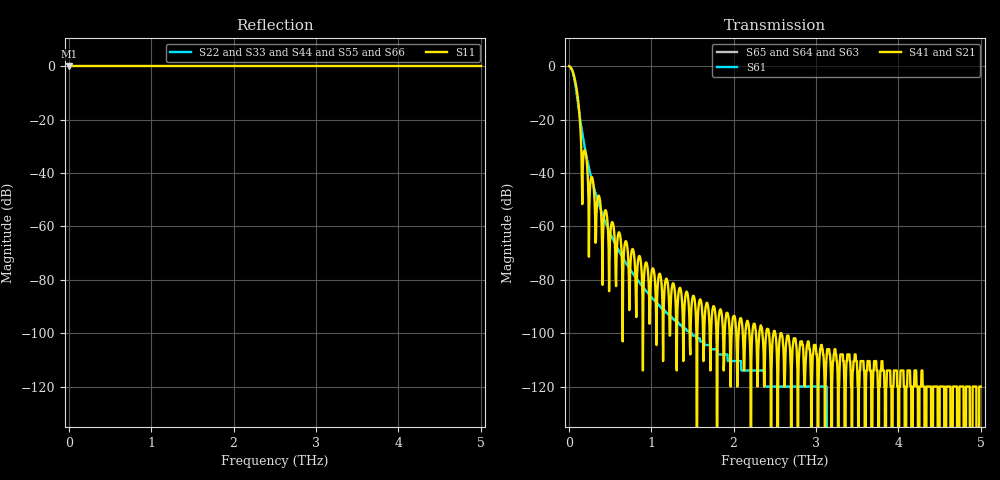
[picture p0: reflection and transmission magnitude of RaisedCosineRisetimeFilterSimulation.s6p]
! File created by SignalIntegrity v1.4.3: Signal and Power Integrity Tools
! https://github.com/Nubis-Communications/SignalIntegrity
# MHz S MA R 50.0
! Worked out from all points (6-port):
!   1000 points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, 5 GHz to 5 THz, reference 50 ohm
!   strongest paths, dB at 5 GHz, 1.255 THz, 2.505 THz, 3.755 THz, 5 THz:
!     S41: 0.0, -82.3, -100.0, -120.0, -120.0
!     S21: 0.0, -82.3, -100.0, -120.0, -120.0
!     S61: 0.0, -94.4, -120.0, -, -
!     S65: -, -, -, -, -
!     S64: -, -, -, -, -
!     S63: -, -, -, -, -
!   lowest |S11| = 0.0 dB at 5 GHz (marker M1)
!   |S11| at or under -10 dB: nowhere
